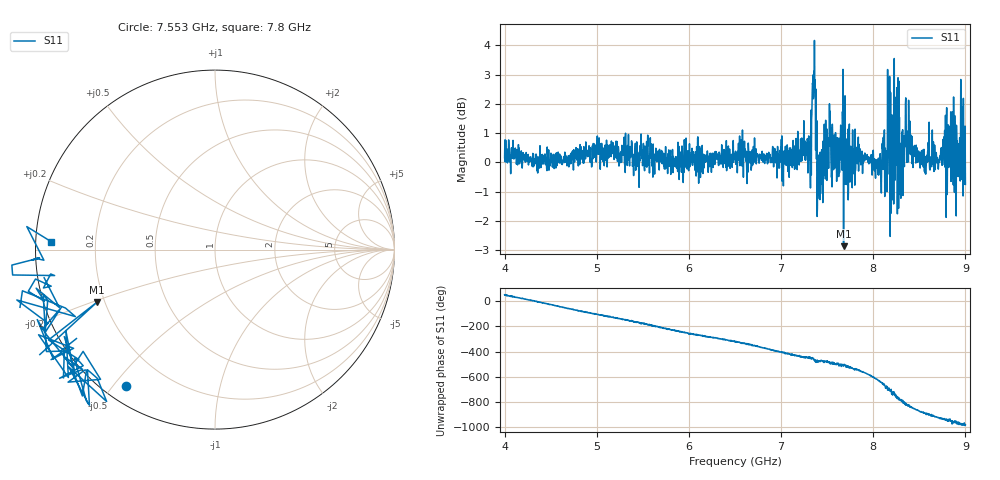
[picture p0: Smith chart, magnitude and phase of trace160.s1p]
! Created with skrf 1.8.0 (http://scikit-rf.org).
# Hz S RI R 50.0
!freq ReS11 ImS11
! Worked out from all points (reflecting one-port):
!   1601 points, 4 GHz to 9 GHz, reference 50 ohm
!   lowest |S11| = -2.9 dB at 7.678 GHz (marker M1), VSWR 6.12, Z = 8.53 - j10.3 ohm
!   phase of S11 starts at 53 deg and turns -1038 deg over the sweep
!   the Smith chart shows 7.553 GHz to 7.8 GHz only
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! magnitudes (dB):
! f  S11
! 4 GHz  0.2
! 4.625 GHz  -0.1
! 5.25 GHz  0.2
! 5.875 GHz  0.0
! 6.5 GHz  0.3
! 7.125 GHz  0.5
! 7.294 GHz  0.2
! 7.316 GHz  -0.1
! 7.356 GHz  3.1
! 7.397 GHz  0.0
! 7.416 GHz  -1.2
! 7.509 GHz  0.3
! 7.591 GHz  1.0
! 7.678 GHz  -2.9
! 7.75 GHz  0.2
! 8.066 GHz  0.1
! 8.156 GHz  3.2
! 8.197 GHz  -0.6
! 8.244 GHz  0.2
! 8.312 GHz  1.0
! 8.334 GHz  0.2
! 8.375 GHz  1.1
! 8.556 GHz  -0.3
! 8.812 GHz  1.3
! 8.853 GHz  1.0
! 8.919 GHz  -0.4
! 8.956 GHz  -0.1
! 9 GHz  -0.8
